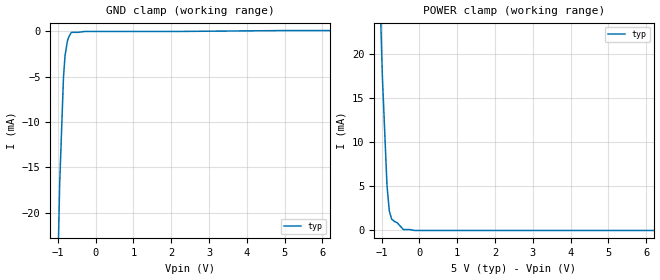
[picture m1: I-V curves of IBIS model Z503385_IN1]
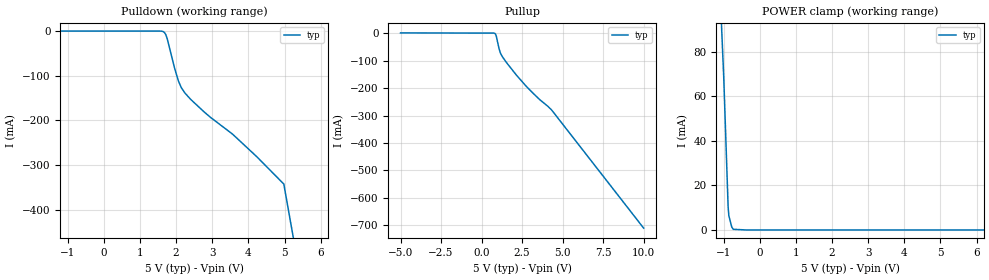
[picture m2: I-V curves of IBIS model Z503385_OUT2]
| YOU ARE ONLY AUTHORIZED TO USE THIS SOFTWARE
| ACCORDING TO LICENSOR'S LICENSE RESTRICTIONS.
[IBIS Ver] 3.1
[File Name] mc100el16d_50.ibs
[File Rev] 3.0
[Source] Measured and created by ICX Technology
[Date] 10/01/2003
[Copyright]
| (C) COPYRIGHT 1993-2000
| MENTOR GRAPHICS CORPORATION
| ICX STANDARD LIBRARY, ICX PROJECT MODELING,
| ICX CUSTOM MODELING, ICX VENDOR MODEL
| ALL RIGHTS RESERVED.
| THE FOLLOWING ARE TRADEMARKS OR SERVICE MARKS OF
| MENTOR GRAPHICS CORPORATION:ICX (R), ICX STANDARD
| LIBRARY(R), ICX PROJECT MODELING(R), ICX CUSTOM
| MODELING(R), qualityIBIS(TM), MODELVIEWER(TM),
| AND MODELEDITOR(TM)
| ALL COPIES OF SOFTWARE, INCLUDING BUT NOT LIMITED TO
| ANY MODIFICATIONS, ENHANCEMENTS OR DERIVATIVE WORKS,
| MUST CONTAIN ALL MENTOR GRAPHICS CORPORATION'S
| NOTICES AND LEGENDS, INCLUDING THOSE EMBEDDED IN
| SOFTWARE AND THOSE AFFIXED TO SOFTWARE MEDIUM
| AND CONTAINER, AS RECEIVED FROM MENTOR GRAPHICS
| CORPORATION.
|  ZAP Model Builder 2.7
[Component] MC100EL16D_50
[Manufacturer] On Semiconductor
[Package]
| variable   typ   min   max
R_pkg  .152ohms NA NA
L_pkg  2.714nH NA NA
C_pkg  .364pF NA NA
[Pin] signal_name  model_name  R_pin  L_pin C_pin
1 NC NC .154 2.924n .374p
2 D Z503385_IN1 .15 2.504n .354p
3 _D Z503385_IN1 .15 2.504n .354p
4 VBB NC .154 2.924n .374p
5 VEE POWER .154 2.924n .374p
6 _Q Z503385_OUT2 .15 2.504n .354p
7 Q Z503385_OUT3 .15 2.504n .354p
8 VCC POWER .154 2.924n .374p
| Models and submodels in the file (3): Z503385_IN1 (Input_ECL), Z503385_OUT2 (Output_ECL), Z503385_OUT3 (Output_ECL)
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| (C) COPYRIGHT 1993-2000
| MENTOR GRAPHICS CORPORATION
| ICX STANDARD LIBRARY, ICX PROJECT MODELING,
| ICX CUSTOM MODELING, ICX VENDOR MODEL
| ALL RIGHTS RESERVED.
| THE FOLLOWING ARE TRADEMARKS OR SERVICE MARKS OF
| MENTOR GRAPHICS CORPORATION:ICX (R), ICX STANDARD
| LIBRARY(R), ICX PROJECT MODELING(R), ICX CUSTOM
| MODELING(R), qualityIBIS(TM), MODELVIEWER(TM),
| AND MODELEDITOR(TM)
| ALL COPIES OF SOFTWARE, INCLUDING BUT NOT LIMITED TO
| ANY MODIFICATIONS, ENHANCEMENTS OR DERIVATIVE WORKS,
| MUST CONTAIN ALL MENTOR GRAPHICS CORPORATION'S
| NOTICES AND LEGENDS, INCLUDING THOSE EMBEDDED IN
| SOFTWARE AND THOSE AFFIXED TO SOFTWARE MEDIUM
| AND CONTAINER, AS RECEIVED FROM MENTOR GRAPHICS
| CORPORATION.
| Model Application Version 1.89 2/18/99.
[Model] Z503385_IN1
Model_type Input_ECL
Vinl = 3.525V
Vinh = 3.835V
C_comp 2.000pF NA NA
| variable typ   min   max
[Voltage Range] 5.000V NA NA
[GND Clamp Reference] 0.000V NA NA
[POWER Clamp Reference] 5.000V NA NA
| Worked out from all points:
|   GND clamp passes 1 mA (typ) near -0.74 V on its own axis
|   POWER clamp passes 1 mA (typ) near -0.65 V on its own axis
[GND Clamp]
-5V       -1.053A    NA         NA
-1.074V   -41.1mA    NA         NA
-952mV    -16.9mA    NA         NA
-851mV    -5.1mA     NA         NA
-810mV    -2.7mA     NA         NA
-749mV    -1.1mA     NA         NA
-709mV    -600uA     NA         NA
-642.7mV  -100uA     NA         NA
-288.2mV  0A         NA         NA
4.986V    100uA      NA         NA
10V       100uA      NA         NA
[POWER Clamp]
-5V       900.2mA    NA         NA
-1.121V   38.2mA     NA         NA
-979mV    17.4mA     NA         NA
-857mV    5.1mA      NA         NA
-796mV    2.2mA      NA         NA
-735mV    1.3mA      NA         NA
-654mV    1mA        NA         NA
-593mV    900uA      NA         NA
-421mV    100uA      NA         NA
-249mV    100uA      NA         NA
-124.5mV  0A         NA         NA
10V       0A         NA         NA
| (C) COPYRIGHT 1993-2000
| MENTOR GRAPHICS CORPORATION
| ICX STANDARD LIBRARY, ICX PROJECT MODELING,
| ICX CUSTOM MODELING, ICX VENDOR MODEL
| ALL RIGHTS RESERVED.
| THE FOLLOWING ARE TRADEMARKS OR SERVICE MARKS OF
| MENTOR GRAPHICS CORPORATION:ICX (R), ICX STANDARD
| LIBRARY(R), ICX PROJECT MODELING(R), ICX CUSTOM
| MODELING(R), qualityIBIS(TM), MODELVIEWER(TM),
| AND MODELEDITOR(TM)
| ALL COPIES OF SOFTWARE, INCLUDING BUT NOT LIMITED TO
| ANY MODIFICATIONS, ENHANCEMENTS OR DERIVATIVE WORKS,
| MUST CONTAIN ALL MENTOR GRAPHICS CORPORATION'S
| NOTICES AND LEGENDS, INCLUDING THOSE EMBEDDED IN
| SOFTWARE AND THOSE AFFIXED TO SOFTWARE MEDIUM
| AND CONTAINER, AS RECEIVED FROM MENTOR GRAPHICS
| CORPORATION.
| Model Application Version 1.89 2/18/99.
[Model] Z503385_OUT2
Model_type Output_ECL
Vref=3.000V
Rref=50.00ohms
Cref=0.000F
Vmeas=3.677V
C_comp 2.000pF NA NA
| variable typ   min   max
[Voltage Range] 5.000V NA NA
[POWER Clamp Reference] 5.000V NA NA
[Pullup Reference] 5.000V NA NA
[Pulldown Reference] 5.000V NA NA
[GND Clamp Reference] 0.000V NA NA
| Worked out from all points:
|   POWER clamp passes 1 mA (typ) near -0.76 V on its own axis
[GND Clamp]
-5V       0A         NA         NA
10V       0A         NA         NA
[Pulldown]
-5V       0A         NA         NA
1.636V    -900uA     NA         NA
1.717V    -8.3mA     NA         NA
1.758V    -18.2mA    NA         NA
1.96V     -83.7mA    NA         NA
2.062V    -111.4mA   NA         NA
2.143V    -126.7mA   NA         NA
2.244V    -138.8mA   NA         NA
2.771V    -180.9mA   NA         NA
3.562V    -231mA     NA         NA
4.98V     -342.9mA   NA         NA
10V       -2.638A    NA         NA
[Pullup]
-5V       707.5uA    NA         NA
830mV     -1.6mA     NA         NA
911mV     -11.8mA    NA         NA
1.074V    -55.8mA    NA         NA
1.155V    -71.7mA    NA         NA
1.276V    -85.3mA    NA         NA
1.54V     -107.4mA   NA         NA
2.148V    -152.9mA   NA         NA
2.756V    -193.7mA   NA         NA
3.587V    -242.1mA   NA         NA
4.317V    -279.5mA   NA         NA
10V       -709.9mA   NA         NA
[POWER Clamp]
-5V       1.179A     NA         NA
-1.257V   159.5mA    NA         NA
-1.115V   114.3mA    NA         NA
-994mV    68.66mA    NA         NA
-872mV    10.27mA    NA         NA
-852mV    6.377mA    NA         NA
-771mV    1.289mA    NA         NA
-730mV    294.4uA    NA         NA
-365mV    0A         NA         NA
10V       0A         NA         NA
[Ramp]
| variable typ min max
dV/dt_r 275.8m/342.0p NA NA
dV/dt_f 275.8m/133.5p NA NA
R_load = 50.00Ohms
